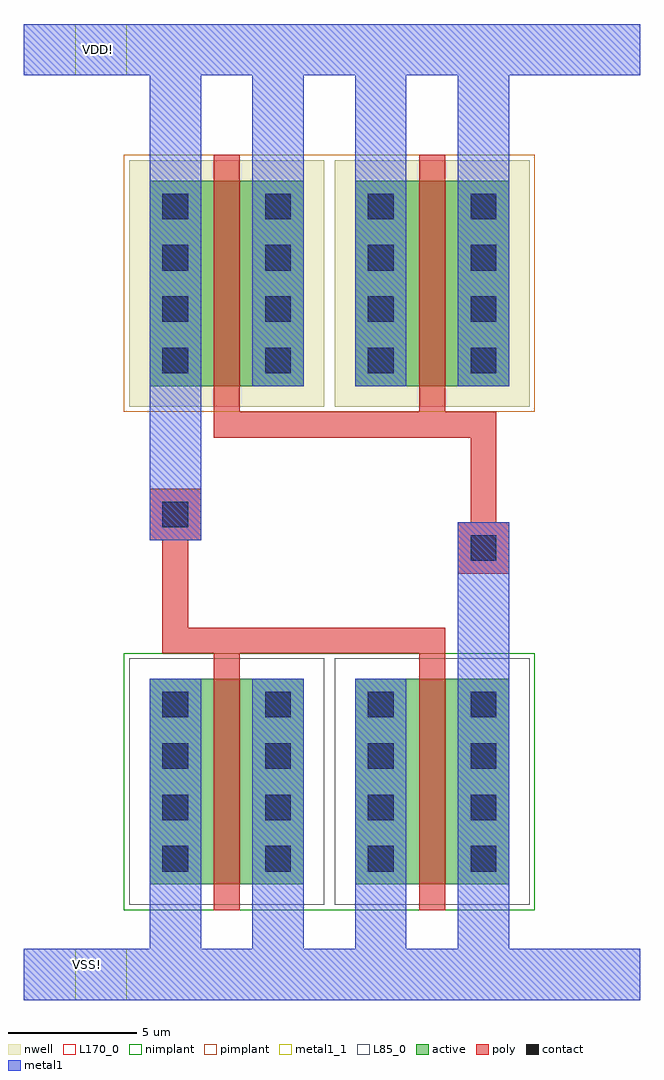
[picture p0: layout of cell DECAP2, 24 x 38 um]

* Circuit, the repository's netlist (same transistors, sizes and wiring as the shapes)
* +++++++++++++++++++++++++++++++++++++++++++++++++++++++++ *
* CDL Netlist:                                              *
*                                                           *
* Cell Name  : DECAP2                                       *
* Netlisted  : Thu Nov 18 07:55:00 2021                     *
* PVS Version: 16.15-s010 Fri Jun 28 22:24:07 PDT 2019      *
* +++++++++++++++++++++++++++++++++++++++++++++++++++++++++ *
*.LDD
*.DEVTMPLT 0 MN(nmos3) _nmos1v _soi_nd(D) poly_conn(G) _soi_nsb(S) _soi_nsb(B)
*.DEVTMPLT 1 MP(pmos3) _pmos1v _soi_pd(D) poly_conn(G) _soi_psb(S) _soi_psb(B)

* +++++++++++++++++++++++++++++++++++++++++++++++++++++++++ *
* Sub cell: nmos3_CDNS_2                                    *
* +++++++++++++++++++++++++++++++++++++++++++++++++++++++++ *
.subckt nmos3_CDNS_2 2 3
** N=3 EP=2 FDC=1
M0 2 3 2 2 nmos3 L=1e-06 W=8e-06 AD=2e-11 AS=0 PD=2.1e-05 PS=0 fw=8e-06 sa=2e-06 sb=2e-06 $X=7000 $Y=2000 $dt=0
.ends nmos3_CDNS_2

* +++++++++++++++++++++++++++++++++++++++++++++++++++++++++ *
* Sub cell: pmos3_CDNS_3                                    *
* +++++++++++++++++++++++++++++++++++++++++++++++++++++++++ *
.subckt pmos3_CDNS_3 2 3
** N=4 EP=2 FDC=1
M0 2 3 2 2 pmos3 L=1e-06 W=8e-06 AD=2e-11 AS=0 PD=2.1e-05 PS=0 fw=8e-06 sa=2e-06 sb=2e-06 $X=7000 $Y=2000 $dt=1
.ends pmos3_CDNS_3

* +++++++++++++++++++++++++++++++++++++++++++++++++++++++++ *
* Sub cell: DECAP2                                          *
* +++++++++++++++++++++++++++++++++++++++++++++++++++++++++ *
.subckt DECAP2 VDD! VSS!
** N=4 EP=2 FDC=4
X2 VSS! VDD! nmos3_CDNS_2 $T=7800 5000 0 0 $X=7800 $Y=5000
X3 VSS! VDD! nmos3_CDNS_2 $T=23800 5000 0 0 $X=23800 $Y=5000
X4 VDD! VSS! pmos3_CDNS_3 $T=7800 63800 1 0 $X=7800 $Y=41800
X5 VDD! VSS! pmos3_CDNS_3 $T=23800 63800 1 0 $X=23800 $Y=41800
.ends DECAP2

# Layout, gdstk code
import gdstk
lib = gdstk.Library(unit=1e-6, precision=5e-10)
def R(c, l, rs):  # rectangles x0, y0, x1, y1
    for r in rs: c.add(gdstk.rectangle(r[:2], r[2:], *l))
def A(c, l, x, y, w, h, nx, ny, dx, dy):  # array of equal rectangles
    R(c, l, [(x+i*dx, y+j*dy, x+i*dx+w, y+j*dy+h) for i in range(nx) for j in range(ny)])
active = (1, 0)
nwell = (2, 0)
poly = (3, 0)
nimplant = (4, 0)
pimplant = (5, 0)
contact = (6, 0)
metal1 = (7, 0)
metal1_1 = (7, 1)
L85_0 = (85, 0)
L170_0 = (170, 0)

nmos3_cdns_2 = lib.new_cell('nmos3_CDNS_2')
R(nmos3_cdns_2, active, [(1,1,7,9)])
R(nmos3_cdns_2, poly, [(3.5,0,4.5,11), (3.6,9.5,4.4,9.9)])
R(nmos3_cdns_2, nimplant, [(0,0,8,10)])
A(nmos3_cdns_2, contact, 1.5, 1.5, 1, 1, 1, 4, 0, 2)
A(nmos3_cdns_2, contact, 5.5, 1.5, 1, 1, 1, 4, 0, 2)
R(nmos3_cdns_2, contact, [(5.5,1.5,6.5,2.5)])
R(nmos3_cdns_2, metal1, [(1,1,3,9), (5,1,7,9), (1.3,1.3,2.7,8.7), (5.3,1.3,6.7,8.7)])
R(nmos3_cdns_2, L85_0, [(0.2,0.2,7.8,9.8)])
R(nmos3_cdns_2, L170_0, [(4.5,1,7,9)])

pmos3_cdns_3 = lib.new_cell('pmos3_CDNS_3')
R(pmos3_cdns_3, active, [(1,1,7,9)])
R(pmos3_cdns_3, nwell, [(0.2,0.2,7.8,9.8)])
R(pmos3_cdns_3, poly, [(3.5,0,4.5,11), (3.6,9.6,4.4,9.9)])
R(pmos3_cdns_3, pimplant, [(0,0,8,10)])
A(pmos3_cdns_3, contact, 1.5, 1.5, 1, 1, 1, 4, 0, 2)
A(pmos3_cdns_3, contact, 5.5, 1.5, 1, 1, 1, 4, 0, 2)
R(pmos3_cdns_3, contact, [(5.5,1.5,6.5,2.5)])
R(pmos3_cdns_3, metal1, [(1,1,3,9), (5,1,7,9), (1.3,1.3,2.7,2.7), (5.3,1.3,6.7,2.7)])
R(pmos3_cdns_3, L170_0, [(4.5,1,7,9)])

m1_po_cdns_1 = lib.new_cell('M1_PO_CDNS_1')
R(m1_po_cdns_1, poly, [(-1,-1,1,1)])
R(m1_po_cdns_1, contact, [(-0.5,-0.5,0.5,0.5)])
R(m1_po_cdns_1, metal1, [(-1,-1,1,1)])

decap2 = lib.new_cell('DECAP2')
R(decap2, metal1_1, [(2,-1,4,1), (2,35,4,37)])
decap2.add(gdstk.FlexPath([(5.9,18.9),(5.9,13)], 1, ends=(0, 0.5), simple_path=True, layer=3, datatype=0))  # poly
decap2.add(gdstk.FlexPath([(5.9,13),(16.4,13)], 1, ends=(0.5, 0), simple_path=True, layer=3, datatype=0))  # poly
decap2.add(gdstk.FlexPath([(17.9,16.5),(17.9,21.4)], 1, ends=(0, 0.5), simple_path=True, layer=3, datatype=0))  # poly
decap2.add(gdstk.FlexPath([(17.9,21.4),(7.4,21.4)], 1, ends=(0.5, 0), simple_path=True, layer=3, datatype=0))  # poly
decap2.add(gdstk.FlexPath([(5.9,29.2),(5.9,36)], 2, ends=(0, 1), simple_path=True, layer=7, datatype=0))  # metal1
decap2.add(gdstk.FlexPath([(13.9,0),(17.9,0)], 2, ends="extended", simple_path=True, layer=7, datatype=0))  # metal1
decap2.add(gdstk.FlexPath([(5.9,36),(0,36)], 2, ends=(1, 0), simple_path=True, layer=7, datatype=0))  # metal1
decap2.add(gdstk.FlexPath([(5.9,36),(9.9,36)], 2, ends="extended", simple_path=True, layer=7, datatype=0))  # metal1
decap2.add(gdstk.FlexPath([(9.9,29.2),(9.9,36)], 2, ends=(0, 1), simple_path=True, layer=7, datatype=0))  # metal1
decap2.add(gdstk.FlexPath([(9.9,36),(13.9,36)], 2, ends="extended", simple_path=True, layer=7, datatype=0))  # metal1
decap2.add(gdstk.FlexPath([(13.9,29.2),(13.9,36)], 2, ends=(0, 1), simple_path=True, layer=7, datatype=0))  # metal1
decap2.add(gdstk.FlexPath([(13.9,36),(17.9,36)], 2, ends="extended", simple_path=True, layer=7, datatype=0))  # metal1
decap2.add(gdstk.FlexPath([(17.9,29.2),(17.9,36)], 2, ends=(0, 1), simple_path=True, layer=7, datatype=0))  # metal1
decap2.add(gdstk.FlexPath([(0,0),(5.9,0)], 2, ends=(0, 1), simple_path=True, layer=7, datatype=0))  # metal1
decap2.add(gdstk.FlexPath([(5.9,5.2),(5.9,0)], 2, ends=(0, 1), simple_path=True, layer=7, datatype=0))  # metal1
decap2.add(gdstk.FlexPath([(5.9,0),(9.9,0)], 2, ends="extended", simple_path=True, layer=7, datatype=0))  # metal1
decap2.add(gdstk.FlexPath([(9.9,5.2),(9.9,0)], 2, ends=(0, 1), simple_path=True, layer=7, datatype=0))  # metal1
decap2.add(gdstk.FlexPath([(9.9,0),(13.9,0)], 2, ends="extended", simple_path=True, layer=7, datatype=0))  # metal1
decap2.add(gdstk.FlexPath([(13.9,5.2),(13.9,0)], 2, ends=(0, 1), simple_path=True, layer=7, datatype=0))  # metal1
decap2.add(gdstk.FlexPath([(17.9,17.2),(17.9,0)], 2, ends=(0, 1), simple_path=True, layer=7, datatype=0))  # metal1
decap2.add(gdstk.FlexPath([(17.9,36),(24,36)], 2, ends=(1, 0), simple_path=True, layer=7, datatype=0))  # metal1
decap2.add(gdstk.FlexPath([(17.9,0),(24,0)], 2, ends=(1, 0), simple_path=True, layer=7, datatype=0))  # metal1
decap2.add(gdstk.FlexPath([(5.9,24.6),(5.9,17.9)], 2, ends="flush", simple_path=True, layer=7, datatype=0))  # metal1
decap2.add(gdstk.Reference(nmos3_cdns_2, (11.9,2.5)))
decap2.add(gdstk.Reference(nmos3_cdns_2, (3.9,2.5)))
decap2.add(gdstk.Reference(pmos3_cdns_3, (11.9,31.9), x_reflection=True))
decap2.add(gdstk.Reference(pmos3_cdns_3, (3.9,31.9), x_reflection=True))
decap2.add(gdstk.Reference(m1_po_cdns_1, (5.9,17.9)))
decap2.add(gdstk.Reference(m1_po_cdns_1, (17.9,16.6)))
decap2.add(gdstk.Label('VSS!', (2.5,0.4), layer=7, texttype=3))
decap2.add(gdstk.Label('VDD!', (2.9,36), layer=7, texttype=3))

lib.write_gds('DECAP2.gds')
